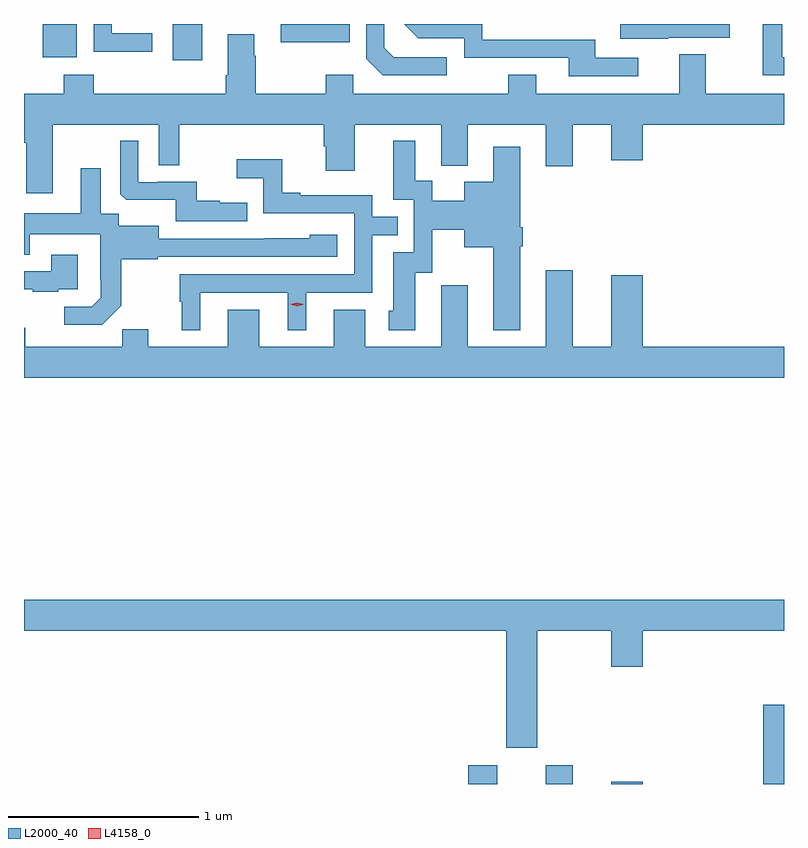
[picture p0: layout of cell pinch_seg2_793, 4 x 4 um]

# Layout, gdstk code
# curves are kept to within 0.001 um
import gdstk
lib = gdstk.Library(unit=1e-6, precision=1e-09)
def R(c, l, rs):  # rectangles x0, y0, x1, y1
    for r in rs: c.add(gdstk.rectangle(r[:2], r[2:], *l))
def P(c, l, *ps):  # polygons
    for p in ps: c.add(gdstk.Polygon(p, *l))
L2000_40 = (2000, 40)
L4158_0 = (4158, 0)

pinch_seg2_793 = lib.new_cell('pinch_seg2_793')
R(pinch_seg2_793, L2000_40, [(643.775,618.858,643.927,618.958), (644.183,618.858,644.323,618.958), (644.528,618.858,644.692,618.871), (645.326,618.858,645.436,619.276), (642.218,622.668,642.373,622.858), (641.534,622.682,641.713,622.858), (642.786,622.763,643.151,622.858)])
P(pinch_seg2_793, L2000_40, [(643.66,622.683),(643.383,622.683),(643.332,622.734),(643.332,622.858),(643.236,622.858),(643.236,622.674),(643.323,622.587),(643.66,622.587)],
  [(644.668,622.68),(644.443,622.68),(644.443,622.776),(643.848,622.776),(643.848,622.858),(643.436,622.858),(643.512,622.782),(643.752,622.782),(643.752,622.68),(644.303,622.68),(644.303,622.584),(644.668,622.584)],
  [(644.827,622.785),(645.151,622.785),(645.151,622.858),(644.573,622.858),(644.573,622.781),(644.827,622.781)],
  [(642.112,622.809),(641.898,622.809),(641.898,622.858),(641.802,622.858),(641.802,622.711),(642.112,622.711)],
  [(645.436,622.683),(645.427,622.683),(645.427,622.858),(645.323,622.858),(645.323,622.587),(645.436,622.587)],
  [(641.587,622.328),(642.144,622.328),(642.144,622.114),(642.253,622.114),(642.253,622.328),(643.013,622.328),(643.013,622.215),(643.025,622.215),(643.025,622.086),(643.177,622.086),(643.177,622.328),(643.631,622.328),(643.631,622.112),(643.771,622.112),(643.771,622.328),(644.183,622.328),(644.183,622.11),(644.323,622.11),(644.323,622.328),(644.528,622.328),(644.528,622.14),(644.692,622.14),(644.692,622.328),(645.436,622.328),(645.436,622.492),(645.025,622.492),(645.025,622.7),(644.885,622.7),(644.885,622.492),(644.131,622.492),(644.131,622.591),(643.984,622.591),(643.984,622.492),(643.17,622.492),(643.17,622.591),(643.024,622.591),(643.024,622.492),(642.657,622.492),(642.657,622.691),(642.649,622.691),(642.649,622.804),(642.509,622.804),(642.509,622.588),(642.497,622.588),(642.497,622.492),(641.804,622.492),(641.804,622.591),(641.644,622.591),(641.644,622.492),(641.436,622.492),(641.436,622.232),(641.447,622.232),(641.447,621.966),(641.587,621.966)],
  [(642.611,621.916),(642.467,621.916),(642.467,621.928),(642.344,621.928),(642.344,622.029),(642.136,622.029),(642.136,622.026),(642.036,622.026),(642.036,622.243),(641.943,622.243),(641.943,621.963),(641.975,621.932),(642.234,621.932),(642.234,621.819),(642.611,621.819)],
  [(644.047,621.687),(644.06,621.687),(644.06,621.787),(644.047,621.787),(644.047,622.213),(643.907,622.213),(643.907,622.027),(643.754,622.027),(643.754,621.928),(643.585,621.928),(643.585,622.034),(643.495,622.034),(643.495,622.243),(643.379,622.243),(643.379,621.933),(643.488,621.933),(643.488,621.657),(643.379,621.657),(643.379,621.348),(643.355,621.348),(643.355,621.246),(643.495,621.246),(643.495,621.549),(643.584,621.549),(643.584,621.776),(643.754,621.776),(643.754,621.683),(643.907,621.683),(643.907,621.245),(644.047,621.245)],
  [(642.364,621.444),(642.824,621.444),(642.824,621.245),(642.922,621.245),(642.922,621.444),(643.269,621.444),(643.269,621.747),(643.403,621.747),(643.403,621.843),(643.269,621.843),(643.269,621.957),(642.889,621.957),(642.889,621.97),(642.795,621.97),(642.795,622.145),(642.555,622.145),(642.555,622.046),(642.696,622.046),(642.696,621.861),(643.173,621.861),(643.173,621.54),(642.255,621.54),(642.255,621.396),(642.266,621.396),(642.266,621.245),(642.364,621.245)],
  [(641.949,621.375),(641.949,621.621),(642.141,621.621),(642.141,621.633),(643.084,621.633),(643.084,621.748),(642.939,621.748),(642.939,621.73),(642.145,621.729),(642.145,621.796),(641.934,621.796),(641.934,621.86),(641.839,621.86),(641.839,622.099),(641.735,622.099),(641.735,621.862),(641.436,621.862),(641.436,621.643),(641.467,621.643),(641.467,621.752),(641.838,621.752),(641.838,621.511),(641.84,621.511),(641.84,621.416),(641.793,621.369),(641.649,621.369),(641.649,621.275),(641.849,621.275)],
  [(641.615,621.462),(641.719,621.462),(641.719,621.643),(641.579,621.643),(641.579,621.558),(641.436,621.558),(641.436,621.461),(641.483,621.461),(641.483,621.45),(641.615,621.45)],
  [(642.509,621.355),(642.509,621.16),(642.091,621.16),(642.091,621.251),(641.953,621.251),(641.953,621.16),(641.443,621.16),(641.443,621.259),(641.436,621.259),(641.436,620.996),(645.436,620.996),(645.436,621.16),(644.692,621.16),(644.692,621.535),(644.528,621.535),(644.528,621.16),(644.323,621.16),(644.323,621.562),(644.183,621.562),(644.183,621.16),(643.771,621.16),(643.771,621.484),(643.632,621.484),(643.632,621.371),(643.631,621.371),(643.631,621.16),(643.231,621.16),(643.231,621.355),(643.067,621.355),(643.067,621.16),(642.673,621.16),(642.673,621.355)],
  [(644.137,619.664),(644.528,619.664),(644.528,619.476),(644.692,619.476),(644.692,619.664),(645.436,619.664),(645.436,619.828),(641.436,619.828),(641.436,619.664),(643.973,619.664),(643.973,619.05),(644.137,619.05)])
P(pinch_seg2_793, L4158_0, [(642.873,621.372),(642.838,621.382),(642.837,621.382),(642.838,621.383),(642.873,621.392),(642.908,621.383),(642.909,621.382),(642.908,621.382)])

lib.write_gds('pinch_seg2_793.gds')
